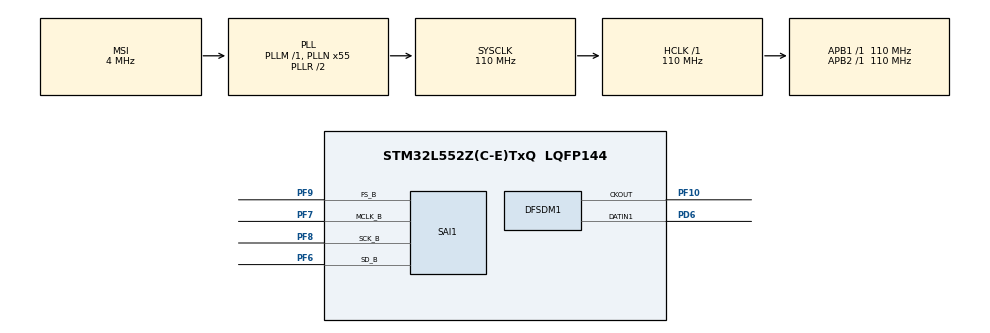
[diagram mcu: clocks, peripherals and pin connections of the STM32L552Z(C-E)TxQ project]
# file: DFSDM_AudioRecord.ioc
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DFSDM1.Divider=4
DFSDM1.DmaMode_reg_FIL0=ENABLE
DFSDM1.DmaMode_reg_FIL1=ENABLE
DFSDM1.FastMode_reg_FIL0=ENABLE
DFSDM1.FastMode_reg_FIL1=ENABLE
DFSDM1.Filter_regChannel_FIL0=DFSDM_CHANNEL_1
DFSDM1.Filter_regChannel_FIL1=DFSDM_CHANNEL_0
DFSDM1.Fosr_FIL0=64
DFSDM1.Fosr_FIL1=64
DFSDM1.Oversampling_CH0=10
DFSDM1.Oversampling_CH1=10
DFSDM1.RightBitShift_CH0=0x02
DFSDM1.RightBitShift_CH1=0x02
DFSDM1.Selection=DFSDM_CHANNEL_OUTPUT_CLOCK_AUDIO
DFSDM1.SincOrder_FIL0=DFSDM_FILTER_SINC3_ORDER
DFSDM1.SincOrder_FIL1=DFSDM_FILTER_SINC3_ORDER
DFSDM1.Trigger_reg_FIL1=DFSDM_FILTER_SYNC_TRIGGER
DFSDM1.Type_spi_CH1=DFSDM_CHANNEL_SPI_FALLING
Dma.DFSDM1_FLT0.0.Channel_PRIV_NPRIV=DMA_CHANNEL_NPRIV_DISABLE
Dma.DFSDM1_FLT0.0.Direction=DMA_PERIPH_TO_MEMORY
Dma.DFSDM1_FLT0.0.EventEnable=DISABLE
Dma.DFSDM1_FLT0.0.Instance=DMA1_Channel4
Dma.DFSDM1_FLT0.0.MemDataAlignment=DMA_MDATAALIGN_WORD
Dma.DFSDM1_FLT0.0.MemInc=DMA_MINC_ENABLE
Dma.DFSDM1_FLT0.0.Mode=DMA_CIRCULAR
Dma.DFSDM1_FLT0.0.PeriphDataAlignment=DMA_PDATAALIGN_WORD
Dma.DFSDM1_FLT0.0.PeriphInc=DMA_PINC_DISABLE
Dma.DFSDM1_FLT0.0.Polarity=HAL_DMAMUX_REQ_GEN_RISING
Dma.DFSDM1_FLT0.0.Priority=DMA_PRIORITY_HIGH
Dma.DFSDM1_FLT0.0.RequestNumber=1
Dma.DFSDM1_FLT0.0.SignalID=NONE
Dma.DFSDM1_FLT0.0.SyncEnable=DISABLE
Dma.DFSDM1_FLT0.0.SyncPolarity=HAL_DMAMUX_SYNC_NO_EVENT
Dma.DFSDM1_FLT0.0.SyncRequestNumber=1
Dma.DFSDM1_FLT0.0.SyncSignalID=NONE
Dma.DFSDM1_FLT1.1.Channel_PRIV_NPRIV=DMA_CHANNEL_NPRIV_DISABLE
Dma.DFSDM1_FLT1.1.Direction=DMA_PERIPH_TO_MEMORY
Dma.DFSDM1_FLT1.1.EventEnable=DISABLE
Dma.DFSDM1_FLT1.1.Instance=DMA1_Channel5
Dma.DFSDM1_FLT1.1.MemDataAlignment=DMA_MDATAALIGN_WORD
Dma.DFSDM1_FLT1.1.MemInc=DMA_MINC_ENABLE
Dma.DFSDM1_FLT1.1.Mode=DMA_CIRCULAR
Dma.DFSDM1_FLT1.1.PeriphDataAlignment=DMA_PDATAALIGN_WORD
Dma.DFSDM1_FLT1.1.PeriphInc=DMA_PINC_DISABLE
Dma.DFSDM1_FLT1.1.Polarity=HAL_DMAMUX_REQ_GEN_RISING
Dma.DFSDM1_FLT1.1.Priority=DMA_PRIORITY_HIGH
Dma.DFSDM1_FLT1.1.RequestNumber=1
Dma.DFSDM1_FLT1.1.SignalID=NONE
Dma.DFSDM1_FLT1.1.SyncEnable=DISABLE
Dma.DFSDM1_FLT1.1.SyncPolarity=HAL_DMAMUX_SYNC_NO_EVENT
Dma.DFSDM1_FLT1.1.SyncRequestNumber=1
Dma.DFSDM1_FLT1.1.SyncSignalID=NONE
Dma.Request0=DFSDM1_FLT0
Dma.Request1=DFSDM1_FLT1
Dma.Request2=SAI1_B
Dma.SAI1_B.2.Channel_PRIV_NPRIV=DMA_CHANNEL_NPRIV_DISABLE
Dma.SAI1_B.2.Direction=DMA_MEMORY_TO_PERIPH
Dma.SAI1_B.2.EventEnable=DISABLE
Dma.SAI1_B.2.Instance=DMA2_Channel1
Dma.SAI1_B.2.MemDataAlignment=DMA_MDATAALIGN_HALFWORD
Dma.SAI1_B.2.MemInc=DMA_MINC_ENABLE
Dma.SAI1_B.2.Mode=DMA_CIRCULAR
Dma.SAI1_B.2.PeriphDataAlignment=DMA_PDATAALIGN_HALFWORD
Dma.SAI1_B.2.PeriphInc=DMA_PINC_DISABLE
Dma.SAI1_B.2.Polarity=HAL_DMAMUX_REQ_GEN_RISING
Dma.SAI1_B.2.Priority=DMA_PRIORITY_HIGH
Dma.SAI1_B.2.RequestNumber=1
Dma.SAI1_B.2.SignalID=NONE
Dma.SAI1_B.2.SyncEnable=DISABLE
Dma.SAI1_B.2.SyncPolarity=HAL_DMAMUX_SYNC_NO_EVENT
Dma.SAI1_B.2.SyncRequestNumber=1
Dma.SAI1_B.2.SyncSignalID=NONE
Mcu.Family=STM32L5
Mcu.Name=STM32L552Z(C-E)TxQ
Mcu.Package=LQFP144
NVIC.DMA1_Channel4_IRQn=true\:7\:0\:true\:false\:true\:false\:true\:true
NVIC.DMA1_Channel5_IRQn=true\:7\:0\:true\:false\:true\:false\:true\:true
NVIC.DMA2_Channel1_IRQn=true\:7\:0\:true\:false\:true\:false\:true\:true
NVIC.PriorityGroup=NVIC_PRIORITYGROUP_3
PD6.GPIO_Speed=GPIO_SPEED_FREQ_VERY_HIGH
PD6.Signal=S_DATAIN1DFSDM1
PF10.GPIO_Speed=GPIO_SPEED_FREQ_VERY_HIGH
PF10.Signal=S_CKOUTDFSDM1
PF6.GPIO_Speed=GPIO_SPEED_FREQ_VERY_HIGH
PF6.Mode=SAI_B_MasterWithClock
PF6.Signal=SAI1_SD_B
PF7.GPIO_Speed=GPIO_SPEED_FREQ_VERY_HIGH
PF7.Mode=SAI_B_MasterWithClock
PF7.Signal=SAI1_MCLK_B
PF8.GPIO_Speed=GPIO_SPEED_FREQ_VERY_HIGH
PF8.Mode=SAI_B_MasterWithClock
PF8.Signal=SAI1_SCK_B
PF9.GPIO_Speed=GPIO_SPEED_FREQ_VERY_HIGH
PF9.Mode=SAI_B_MasterWithClock
PF9.Signal=SAI1_FS_B
ProjectManager.HeapSize=0x200
ProjectManager.StackSize=0x400
ProjectManager.TargetToolchain=EWARM V8.32
RCC.ADCFreq_Value=96000000
RCC.AHBFreq_Value=110000000
RCC.APB1Freq_Value=110000000
RCC.APB1TimFreq_Value=110000000
RCC.APB2Freq_Value=110000000
RCC.APB2TimFreq_Value=110000000
RCC.CortexFreq_Value=110000000
RCC.DFSDMAudioCLockSelection=RCC_DFSDM1AUDIOCLKSOURCE_SAI1
RCC.HCLKFreq_Value=110000000
RCC.HSE_VALUE=16000000
RCC.HSI48_VALUE=48000000
RCC.HSI_VALUE=16000000
RCC.LSE_VALUE=32768
RCC.MSI_VALUE=4000000
RCC.PLLN=55
RCC.PLLSAI1N=48
RCC.PLLSAI1P=RCC_PLLP_DIV17
RCC.SYSCLKFreq_VALUE=110000000
RCC.SYSCLKSource=RCC_SYSCLKSOURCE_PLLCLK
RCC.USBFreq_Value=96000000
RCC.VCOOutputFreq_Value=220000000
SAI1.ActiveFrameLength-SAI_B_MasterWithClock=16
SAI1.AudioFrequency-SAI_B_MasterWithClock=SAI_AUDIO_FREQUENCY_44K
SAI1.DataSize-SAI_B_MasterWithClock=SAI_DATASIZE_16
SAI1.ErrorAudioFreq-SAI_B_MasterWithClock=0.26 %
SAI1.FIFOThreshold-SAI_B_MasterWithClock=SAI_FIFOTHRESHOLD_1QF
SAI1.FSDefinition-SAI_B_MasterWithClock=SAI_FS_CHANNEL_IDENTIFICATION
SAI1.FSOffset-SAI_B_MasterWithClock=SAI_FS_BEFOREFIRSTBIT
SAI1.FrameLength-SAI_B_MasterWithClock=32
SAI1.Instance-SAI_B_MasterWithClock=SAI$Index_Block_B
SAI1.MckOutput-SAI_B_MasterWithClock=SAI_MCK_OUTPUT_ENABLE
SAI1.OutputDrive-SAI_B_MasterWithClock=SAI_OUTPUTDRIVE_ENABLE
SAI1.RealAudioFreq-SAI_B_MasterWithClock=44.117 KHz
SAI1.SlotActive-SAI_B_MasterWithClock=0x00000003
SAI1.SlotNumber-SAI_B_MasterWithClock=2
SAI1.VirtualMode-SAI_B_MasterWithClock=VM_MASTER
SAI1.VirtualSlotActive-SAI_B_MasterWithClock=SAI_SLOT_USERSETTING
SAI1.VirtualSlotActive0-SAI_B_MasterWithClock=true
SAI1.VirtualSlotActive1-SAI_B_MasterWithClock=true
SH.S_CKOUTDFSDM1.0=DFSDM1_CKOUT,PDM_SPI_Input_from_ch01_and_Internal_Clock
SH.S_CKOUTDFSDM1.1=DFSDM1_CKOUT,PDM_SPI_input_from_ch1_and_internal_clock
SH.S_CKOUTDFSDM1.2=DFSDM1_CKOUT,CKOUT
SH.S_DATAIN1DFSDM1.0=DFSDM1_DATIN1,PDM_SPI_Input_from_ch01_and_Internal_Clock
SH.S_DATAIN1DFSDM1.1=DFSDM1_DATIN1,PDM_SPI_input_from_ch1_and_internal_clock
VP_ICACHE_VS_ICACHE.Mode=DirectMappedCache
VP_PWR_VS_DBSignals.Mode=DisableDeadBatterySignals
board=custom

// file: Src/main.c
/* USER CODE BEGIN Header */
/**
  ******************************************************************************
  * @file           : main.c
  * @brief          : Main program body
  ******************************************************************************
  * @attention
  *
  * Copyright (c) 2019 STMicroelectronics.
  * All rights reserved.
  *
  * This software is licensed under terms that can be found in the LICENSE file
  * in the root directory of this software component.
  * If no LICENSE file comes with this software, it is provided AS-IS.
  *
  ******************************************************************************
  */
/* USER CODE END Header */
#include "main.h"

/* USER CODE BEGIN Includes */
#include "stm32l552e_eval.h"
#include "stm32l552e_eval_bus.h"
#include "stm32l552e_eval_io.h"
#include "audio.h"
#include "cs42l51.h"
/* USER CODE END Includes */

/* USER CODE BEGIN PD */
#define AUDIO_I2C_ADDRESS  0x94U
/* USER CODE END PD */

/* USER CODE BEGIN PM */
#define SaturaLH(N, L, H) (((N)<(L))?(L):(((N)>(H))?(H):(N)))
/* USER CODE END PM */

DFSDM_Filter_HandleTypeDef hdfsdm1_filter0;
DFSDM_Filter_HandleTypeDef hdfsdm1_filter1;
DFSDM_Channel_HandleTypeDef hdfsdm1_channel0;
DFSDM_Channel_HandleTypeDef hdfsdm1_channel1;
DMA_HandleTypeDef hdma_dfsdm1_flt0;
DMA_HandleTypeDef hdma_dfsdm1_flt1;

SAI_HandleTypeDef hsai_BlockB1;
DMA_HandleTypeDef hdma_sai1_b;

/* USER CODE BEGIN PV */
int32_t                      LeftRecBuff[2048];
int32_t                      RightRecBuff[2048];
int16_t                      PlayBuff[4096];
__IO uint32_t                DmaLeftRecHalfBuffCplt  = 0;
__IO uint32_t                DmaLeftRecBuffCplt      = 0;
__IO uint32_t                DmaRightRecHalfBuffCplt = 0;
__IO uint32_t                DmaRightRecBuffCplt     = 0;
uint32_t                     PlaybackStarted         = 0;
/* Audio component object */
void *Audio_CompObj = NULL;
/* Audio driver */
AUDIO_Drv_t *Audio_Drv = NULL;
/* USER CODE END PV */

void SystemClock_Config(void);
void PeriphCommonClock_Config(void);
static void MX_GPIO_Init(void);
static void MX_DMA_Init(void);
static void MX_ICACHE_Init(void);
static void MX_DFSDM1_Init(void);
static void MX_SAI1_Init(void);
/* USER CODE BEGIN PFP */
static void Playback_Init(void);
/* USER CODE END PFP */

int main(void)
{
  /* USER CODE BEGIN 1 */
  uint32_t i;
  /* USER CODE END 1 */

  /* MCU Configuration--------------------------------------------------------*/

  /* Reset of all peripherals, Initializes the Flash interface and the Systick. */
  HAL_Init();

  /* USER CODE BEGIN Init */
  /* Configure LED_RED */
  if (BSP_LED_Init(LED_RED) != BSP_ERROR_NONE)
  {
    Error_Handler();
  }
  /* USER CODE END Init */

  /* Configure the system clock */
  SystemClock_Config();

/* Configure the peripherals common clocks */
  PeriphCommonClock_Config();

  /* Initialize all configured peripherals */
  MX_GPIO_Init();
  MX_DMA_Init();
  MX_ICACHE_Init();
  MX_DFSDM1_Init();
  MX_SAI1_Init();
  /* USER CODE BEGIN 2 */
  /* Initialize playback */
  Playback_Init();

  /* Start DFSDM conversions */
  if(HAL_OK != HAL_DFSDM_FilterRegularStart_DMA(&hdfsdm1_filter1, RightRecBuff, 2048))
  {
    Error_Handler();
  }
  if(HAL_OK != HAL_DFSDM_FilterRegularStart_DMA(&hdfsdm1_filter0, LeftRecBuff, 2048))
  {
    Error_Handler();
  }
  /* USER CODE END 2 */

  /* Infinite loop */
  /* USER CODE BEGIN WHILE */
  while (1)
  {
    if((DmaLeftRecHalfBuffCplt == 1) && (DmaRightRecHalfBuffCplt == 1))
    {
      /* Store values on Play buff */
      for(i = 0; i < 1024; i++)
      {
        PlayBuff[2*i]     = SaturaLH((LeftRecBuff[i] >> 8), -32768, 32767);
        PlayBuff[(2*i)+1] = SaturaLH((RightRecBuff[i] >> 8), -32768, 32767);
      }
      if(PlaybackStarted == 0)
      {
        if(HAL_OK != HAL_SAI_Transmit_DMA(&hsai_BlockB1, (uint8_t *) &PlayBuff[0], 4096))
        {
          Error_Handler();
        }
        if (Audio_Drv->Play(Audio_CompObj) < 0)
        {
          Error_Handler();
        }
        PlaybackStarted = 1;
      }
      DmaLeftRecHalfBuffCplt  = 0;
      DmaRightRecHalfBuffCplt = 0;
    }
    if((DmaLeftRecBuffCplt == 1) && (DmaRightRecBuffCplt == 1))
    {
      /* Store values on Play buff */
      for(i = 1024; i < 2048; i++)
      {
        PlayBuff[2*i]     = SaturaLH((LeftRecBuff[i] >> 8), -32768, 32767);
        PlayBuff[(2*i)+1] = SaturaLH((RightRecBuff[i] >> 8), -32768, 32767);
      }
      DmaLeftRecBuffCplt  = 0;
      DmaRightRecBuffCplt = 0;
    }
    /* USER CODE END WHILE */

  }
}

void SystemClock_Config(void)
{
  RCC_OscInitTypeDef RCC_OscInitStruct = {0};
  RCC_ClkInitTypeDef RCC_ClkInitStruct = {0};

  /** Configure the main internal regulator output voltage
  */
  if (HAL_PWREx_ControlVoltageScaling(PWR_REGULATOR_VOLTAGE_SCALE0) != HAL_OK)
  {
    Error_Handler();
  }

  /** Initializes the RCC Oscillators according to the specified parameters
  * in the RCC_OscInitTypeDef structure.
  */
  RCC_OscInitStruct.OscillatorType = RCC_OSCILLATORTYPE_MSI;
  RCC_OscInitStruct.MSIState = RCC_MSI_ON;
  RCC_OscInitStruct.MSICalibrationValue = RCC_MSICALIBRATION_DEFAULT;
  RCC_OscInitStruct.MSIClockRange = RCC_MSIRANGE_6;
  RCC_OscInitStruct.PLL.PLLState = RCC_PLL_ON;
  RCC_OscInitStruct.PLL.PLLSource = RCC_PLLSOURCE_MSI;
  RCC_OscInitStruct.PLL.PLLM = 1;
  RCC_OscInitStruct.PLL.PLLN = 55;
  RCC_OscInitStruct.PLL.PLLP = RCC_PLLP_DIV7;
  RCC_OscInitStruct.PLL.PLLQ = RCC_PLLQ_DIV2;
  RCC_OscInitStruct.PLL.PLLR = RCC_PLLR_DIV2;
  if (HAL_RCC_OscConfig(&RCC_OscInitStruct) != HAL_OK)
  {
    Error_Handler();
  }

  /** Initializes the CPU, AHB and APB buses clocks
  */
  RCC_ClkInitStruct.ClockType = RCC_CLOCKTYPE_HCLK|RCC_CLOCKTYPE_SYSCLK
                              |RCC_CLOCKTYPE_PCLK1|RCC_CLOCKTYPE_PCLK2;
  RCC_ClkInitStruct.SYSCLKSource = RCC_SYSCLKSOURCE_PLLCLK;
  RCC_ClkInitStruct.AHBCLKDivider = RCC_SYSCLK_DIV1;
  RCC_ClkInitStruct.APB1CLKDivider = RCC_HCLK_DIV1;
  RCC_ClkInitStruct.APB2CLKDivider = RCC_HCLK_DIV1;

  if (HAL_RCC_ClockConfig(&RCC_ClkInitStruct, FLASH_LATENCY_5) != HAL_OK)
  {
    Error_Handler();
  }
}

void PeriphCommonClock_Config(void)
{
  RCC_PeriphCLKInitTypeDef PeriphClkInit = {0};

  /** Initializes the common periph clock
  */
  PeriphClkInit.PeriphClockSelection = RCC_PERIPHCLK_DFSDM1AUDIO|RCC_PERIPHCLK_SAI1;
  PeriphClkInit.Sai1ClockSelection = RCC_SAI1CLKSOURCE_PLLSAI1;
  PeriphClkInit.Dfsdm1AudioClockSelection = RCC_DFSDM1AUDIOCLKSOURCE_SAI1;
  PeriphClkInit.PLLSAI1.PLLSAI1Source = RCC_PLLSAI1SOURCE_MSI;
  PeriphClkInit.PLLSAI1.PLLSAI1M = 1;
  PeriphClkInit.PLLSAI1.PLLSAI1N = 48;
  PeriphClkInit.PLLSAI1.PLLSAI1P = RCC_PLLP_DIV17;
  PeriphClkInit.PLLSAI1.PLLSAI1Q = RCC_PLLQ_DIV2;
  PeriphClkInit.PLLSAI1.PLLSAI1R = RCC_PLLR_DIV2;
  PeriphClkInit.PLLSAI1.PLLSAI1ClockOut = RCC_PLLSAI1_SAI1CLK;
  if (HAL_RCCEx_PeriphCLKConfig(&PeriphClkInit) != HAL_OK)
  {
    Error_Handler();
  }
}

static void MX_DFSDM1_Init(void)
{

  hdfsdm1_filter0.Instance = DFSDM1_Filter0;
  hdfsdm1_filter0.Init.RegularParam.Trigger = DFSDM_FILTER_SW_TRIGGER;
  hdfsdm1_filter0.Init.RegularParam.FastMode = ENABLE;
  hdfsdm1_filter0.Init.RegularParam.DmaMode = ENABLE;
  hdfsdm1_filter0.Init.FilterParam.SincOrder = DFSDM_FILTER_SINC3_ORDER;
  hdfsdm1_filter0.Init.FilterParam.Oversampling = 64;
  hdfsdm1_filter0.Init.FilterParam.IntOversampling = 1;
  if (HAL_DFSDM_FilterInit(&hdfsdm1_filter0) != HAL_OK)
  {
    Error_Handler();
  }
  hdfsdm1_filter1.Instance = DFSDM1_Filter1;
  hdfsdm1_filter1.Init.RegularParam.Trigger = DFSDM_FILTER_SYNC_TRIGGER;
  hdfsdm1_filter1.Init.RegularParam.FastMode = ENABLE;
  hdfsdm1_filter1.Init.RegularParam.DmaMode = ENABLE;
  hdfsdm1_filter1.Init.FilterParam.SincOrder = DFSDM_FILTER_SINC3_ORDER;
  hdfsdm1_filter1.Init.FilterParam.Oversampling = 64;
  hdfsdm1_filter1.Init.FilterParam.IntOversampling = 1;
  if (HAL_DFSDM_FilterInit(&hdfsdm1_filter1) != HAL_OK)
  {
    Error_Handler();
  }
  hdfsdm1_channel0.Instance = DFSDM1_Channel0;
  hdfsdm1_channel0.Init.OutputClock.Activation = ENABLE;
  hdfsdm1_channel0.Init.OutputClock.Selection = DFSDM_CHANNEL_OUTPUT_CLOCK_AUDIO;
  hdfsdm1_channel0.Init.OutputClock.Divider = 4;
  hdfsdm1_channel0.Init.Input.Multiplexer = DFSDM_CHANNEL_EXTERNAL_INPUTS;
  hdfsdm1_channel0.Init.Input.DataPacking = DFSDM_CHANNEL_STANDARD_MODE;
  hdfsdm1_channel0.Init.Input.Pins = DFSDM_CHANNEL_FOLLOWING_CHANNEL_PINS;
  hdfsdm1_channel0.Init.SerialInterface.Type = DFSDM_CHANNEL_SPI_RISING;
  hdfsdm1_channel0.Init.SerialInterface.SpiClock = DFSDM_CHANNEL_SPI_CLOCK_INTERNAL;
  hdfsdm1_channel0.Init.Awd.FilterOrder = DFSDM_CHANNEL_FASTSINC_ORDER;
  hdfsdm1_channel0.Init.Awd.Oversampling = 10;
  hdfsdm1_channel0.Init.Offset = 0;
  hdfsdm1_channel0.Init.RightBitShift = 0x02;
  if (HAL_DFSDM_ChannelInit(&hdfsdm1_channel0) != HAL_OK)
  {
    Error_Handler();
  }
  hdfsdm1_channel1.Instance = DFSDM1_Channel1;
  hdfsdm1_channel1.Init.OutputClock.Activation = ENABLE;
  hdfsdm1_channel1.Init.OutputClock.Selection = DFSDM_CHANNEL_OUTPUT_CLOCK_AUDIO;
  hdfsdm1_channel1.Init.OutputClock.Divider = 4;
  hdfsdm1_channel1.Init.Input.Multiplexer = DFSDM_CHANNEL_EXTERNAL_INPUTS;
  hdfsdm1_channel1.Init.Input.DataPacking = DFSDM_CHANNEL_STANDARD_MODE;
  hdfsdm1_channel1.Init.Input.Pins = DFSDM_CHANNEL_SAME_CHANNEL_PINS;
  hdfsdm1_channel1.Init.SerialInterface.Type = DFSDM_CHANNEL_SPI_FALLING;
  hdfsdm1_channel1.Init.SerialInterface.SpiClock = DFSDM_CHANNEL_SPI_CLOCK_INTERNAL;
  hdfsdm1_channel1.Init.Awd.FilterOrder = DFSDM_CHANNEL_FASTSINC_ORDER;
  hdfsdm1_channel1.Init.Awd.Oversampling = 10;
  hdfsdm1_channel1.Init.Offset = 0;
  hdfsdm1_channel1.Init.RightBitShift = 0x02;
  if (HAL_DFSDM_ChannelInit(&hdfsdm1_channel1) != HAL_OK)
  {
    Error_Handler();
  }
  if (HAL_DFSDM_FilterConfigRegChannel(&hdfsdm1_filter0, DFSDM_CHANNEL_1, DFSDM_CONTINUOUS_CONV_ON) != HAL_OK)
  {
    Error_Handler();
  }
  if (HAL_DFSDM_FilterConfigRegChannel(&hdfsdm1_filter1, DFSDM_CHANNEL_0, DFSDM_CONTINUOUS_CONV_ON) != HAL_OK)
  {
    Error_Handler();
  }

}

static void MX_ICACHE_Init(void)
{

  /** Enable instruction cache in 1-way (direct mapped cache)
  */
  if (HAL_ICACHE_ConfigAssociativityMode(ICACHE_1WAY) != HAL_OK)
  {
    Error_Handler();
  }
  if (HAL_ICACHE_Enable() != HAL_OK)
  {
    Error_Handler();
  }

}

static void MX_SAI1_Init(void)
{

  hsai_BlockB1.Instance = SAI1_Block_B;
  hsai_BlockB1.Init.Protocol = SAI_FREE_PROTOCOL;
  hsai_BlockB1.Init.AudioMode = SAI_MODEMASTER_TX;
  hsai_BlockB1.Init.DataSize = SAI_DATASIZE_16;
  hsai_BlockB1.Init.FirstBit = SAI_FIRSTBIT_MSB;
  hsai_BlockB1.Init.ClockStrobing = SAI_CLOCKSTROBING_FALLINGEDGE;
  hsai_BlockB1.Init.Synchro = SAI_ASYNCHRONOUS;
  hsai_BlockB1.Init.OutputDrive = SAI_OUTPUTDRIVE_ENABLE;
  hsai_BlockB1.Init.NoDivider = SAI_MASTERDIVIDER_ENABLE;
  hsai_BlockB1.Init.FIFOThreshold = SAI_FIFOTHRESHOLD_1QF;
  hsai_BlockB1.Init.AudioFrequency = SAI_AUDIO_FREQUENCY_44K;
  hsai_BlockB1.Init.SynchroExt = SAI_SYNCEXT_DISABLE;
  hsai_BlockB1.Init.MonoStereoMode = SAI_STEREOMODE;
  hsai_BlockB1.Init.CompandingMode = SAI_NOCOMPANDING;
  hsai_BlockB1.Init.TriState = SAI_OUTPUT_NOTRELEASED;
  hsai_BlockB1.Init.PdmInit.Activation = DISABLE;
  hsai_BlockB1.Init.PdmInit.MicPairsNbr = 1;
  hsai_BlockB1.Init.PdmInit.ClockEnable = SAI_PDM_CLOCK1_ENABLE;
  hsai_BlockB1.FrameInit.FrameLength = 32;
  hsai_BlockB1.FrameInit.ActiveFrameLength = 16;
  hsai_BlockB1.FrameInit.FSDefinition = SAI_FS_CHANNEL_IDENTIFICATION;
  hsai_BlockB1.FrameInit.FSPolarity = SAI_FS_ACTIVE_LOW;
  hsai_BlockB1.FrameInit.FSOffset = SAI_FS_BEFOREFIRSTBIT;
  hsai_BlockB1.SlotInit.FirstBitOffset = 0;
  hsai_BlockB1.SlotInit.SlotSize = SAI_SLOTSIZE_DATASIZE;
  hsai_BlockB1.SlotInit.SlotNumber = 2;
  hsai_BlockB1.SlotInit.SlotActive = 0x00000003;
  if (HAL_SAI_Init(&hsai_BlockB1) != HAL_OK)
  {
    Error_Handler();
  }

}

static void MX_DMA_Init(void)
{

  /* DMA controller clock enable */
  __HAL_RCC_DMAMUX1_CLK_ENABLE();
  __HAL_RCC_DMA1_CLK_ENABLE();
  __HAL_RCC_DMA2_CLK_ENABLE();

  /* DMA interrupt init */
  /* DMA1_Channel4_IRQn interrupt configuration */
  HAL_NVIC_SetPriority(DMA1_Channel4_IRQn, 7, 0);
  HAL_NVIC_EnableIRQ(DMA1_Channel4_IRQn);
  /* DMA1_Channel5_IRQn interrupt configuration */
  HAL_NVIC_SetPriority(DMA1_Channel5_IRQn, 7, 0);
  HAL_NVIC_EnableIRQ(DMA1_Channel5_IRQn);
  /* DMA2_Channel1_IRQn interrupt configuration */
  HAL_NVIC_SetPriority(DMA2_Channel1_IRQn, 7, 0);
  HAL_NVIC_EnableIRQ(DMA2_Channel1_IRQn);

}

static void MX_GPIO_Init(void)
{

  /* GPIO Ports Clock Enable */
  __HAL_RCC_GPIOF_CLK_ENABLE();
  __HAL_RCC_GPIOD_CLK_ENABLE();

}

/* USER CODE BEGIN 4 */
/**
  * @brief  Playback initialization
  * @param  None
  * @retval None
  */
static void Playback_Init(void)
{
  BSP_IO_Init_t            IO_Init;
  CS42L51_IO_t             IOCtx;
  uint32_t                 cs42l51_id;
  static CS42L51_Object_t  CS42L51Obj;
  CS42L51_Init_t           codec_init;

  /* Initialize the BSP IO driver and configure the CS42L51 reset pin */
  if (BSP_IOEXPANDER_Init(0, IOEXPANDER_IO_MODE) != BSP_ERROR_NONE)
  {
    Error_Handler();
  }
  else
  {
    IO_Init.Pin  = IO_PIN_15;
    IO_Init.Mode = IO_MODE_OUTPUT_PP;
    IO_Init.Pull = IO_PULLDOWN;
    if (BSP_IO_Init(0, &IO_Init) != BSP_ERROR_NONE)
    {
      Error_Handler();
    }
    else
    {
      /* Un-reset the CS42L51 */
      if (BSP_IO_WritePin(0, IO_PIN_15, IO_PIN_SET) != BSP_ERROR_NONE)
      {
        Error_Handler();
      }
    }
  }

  /* Wait 1ms according CS42L51 datasheet */
  HAL_Delay(1);

  /* Enable SAI to generate clock used by audio driver */
  __HAL_SAI_ENABLE(&hsai_BlockB1);

  /* Configure and initialize the audio driver */
  IOCtx.Address     = AUDIO_I2C_ADDRESS;
  IOCtx.Init        = BSP_I2C1_Init;
  IOCtx.DeInit      = BSP_I2C1_DeInit;
  IOCtx.ReadReg     = BSP_I2C1_ReadReg;
  IOCtx.WriteReg    = BSP_I2C1_WriteReg;
  IOCtx.GetTick     = BSP_GetTick;
  if (CS42L51_RegisterBusIO(&CS42L51Obj, &IOCtx) != CS42L51_OK)
  {
    Error_Handler();
  }
  else if (CS42L51_ReadID(&CS42L51Obj, &cs42l51_id) != CS42L51_OK)
  {
    Error_Handler();
  }
  else if ((cs42l51_id & CS42L51_ID_MASK) != CS42L51_ID)
  {
    Error_Handler();
  }
  else
  {
    Audio_Drv = (AUDIO_Drv_t *) &CS42L51_Driver;
    Audio_CompObj = &CS42L51Obj;

    /* Initialize audio codec */
    codec_init.InputDevice  = CS42L51_IN_NONE;
    codec_init.OutputDevice = CS42L51_OUT_HEADPHONE;
    codec_init.Frequency    = CS42L51_FREQUENCY_44K;
    codec_init.Resolution   = CS42L51_RESOLUTION_16B;
    codec_init.Volume       = 90;
    if (Audio_Drv->Init(Audio_CompObj, &codec_init) < 0)
    {
      Error_Handler();
    }
  }
}

/**
  * @brief  Half regular conversion complete callback.
  * @param  hdfsdm_filter : DFSDM filter handle.
  * @retval None
  */
void HAL_DFSDM_FilterRegConvHalfCpltCallback(DFSDM_Filter_HandleTypeDef *hdfsdm_filter)
{
  if(hdfsdm_filter == &hdfsdm1_filter0)
  {
    DmaLeftRecHalfBuffCplt = 1;
  }
  else
  {
    DmaRightRecHalfBuffCplt = 1;
  }
}

/**
  * @brief  Regular conversion complete callback.
  * @note   In interrupt mode, user has to read conversion value in this function
            using HAL_DFSDM_FilterGetRegularValue.
  * @param  hdfsdm_filter : DFSDM filter handle.
  * @retval None
  */
void HAL_DFSDM_FilterRegConvCpltCallback(DFSDM_Filter_HandleTypeDef *hdfsdm_filter)
{
  if(hdfsdm_filter == &hdfsdm1_filter0)
  {
    DmaLeftRecBuffCplt = 1;
  }
  else
  {
    DmaRightRecBuffCplt = 1;
  }
}
/* USER CODE END 4 */

void Error_Handler(void)
{
  /* USER CODE BEGIN Error_Handler_Debug */
  while (1)
  {
    /* Toggle LED_RED with a period of one second */
    (void) BSP_LED_Toggle(LED_RED);
    HAL_Delay(1000);
  }
  /* USER CODE END Error_Handler_Debug */
}

#ifdef  USE_FULL_ASSERT
/**
  * @brief  Reports the name of the source file and the source line number
  *         where the assert_param error has occurred.
  * @param  file: pointer to the source file name
  * @param  line: assert_param error line source number
  * @retval None
  */
void assert_failed(uint8_t *file, uint32_t line)
{
  /* USER CODE BEGIN 6 */
  /* User can add his own implementation to report the file name and line number,
     ex: printf("Wrong parameters value: file %s on line %d\r\n", file, line) */
  /* Infinite loop */
  while (1)
  {}
  /* USER CODE END 6 */
}
#endif /* USE_FULL_ASSERT */
